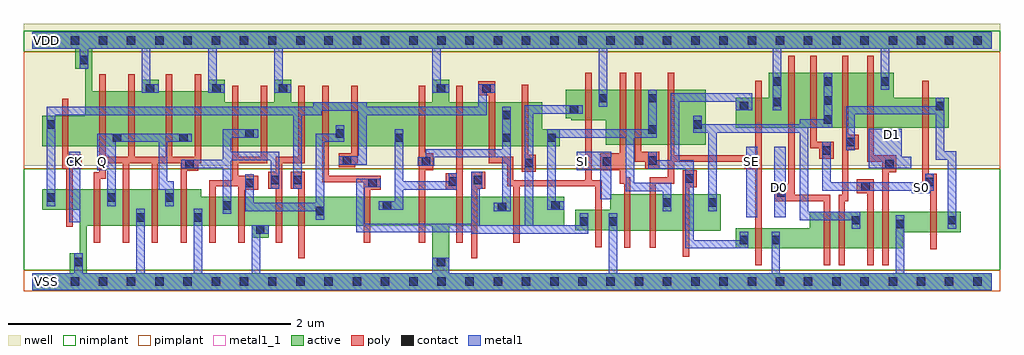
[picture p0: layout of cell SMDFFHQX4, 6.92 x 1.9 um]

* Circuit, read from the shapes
.subckt SMDFFHQX4 CK D0 D1 Q S0 SE SI VDD VSS
M1 VSS CK n1 VSS nfet w=0.145u l=0.045u
M2 Q n2 VSS VSS nfet w=0.26u l=0.045u m=4
M3 n2 n3 VSS VSS nfet w=0.205u l=0.045u m=2
M4 n4 n2 VSS VSS nfet w=0.205u l=0.045u
M5 n3 n1 n4 VSS nfet w=0.205u l=0.045u
M6 n5 n6 n3 VSS nfet w=0.205u l=0.045u
M7 VSS n7 n5 VSS nfet w=0.205u l=0.045u
M8 n8 n5 VSS VSS nfet w=0.205u l=0.045u
M9 n7 n6 n8 VSS nfet w=0.205u l=0.045u
M10 n9 n1 n7 VSS nfet w=0.205u l=0.045u
M11 VSS n1 n6 VSS nfet w=0.145u l=0.045u
M12 n10 SI VSS VSS nfet w=0.26u l=0.045u
M13 n9 SE n10 VSS nfet w=0.26u l=0.045u
M14 n11 n12 n9 VSS nfet w=0.26u l=0.045u
M15 VSS SE n12 VSS nfet w=0.145u l=0.045u
M16 n13 D0 VSS VSS nfet w=0.26u l=0.045u
M17 n11 n14 n13 VSS nfet w=0.26u l=0.045u
M18 n15 S0 n11 VSS nfet w=0.26u l=0.045u
M19 VSS D1 n15 VSS nfet w=0.26u l=0.045u
M20 n14 S0 VSS VSS nfet w=0.145u l=0.045u
M21 VDD CK n1 VDD pfet w=0.215u l=0.045u
M22 Q n2 VDD VDD pfet w=0.39u l=0.045u m=4
M23 n2 n3 VDD VDD pfet w=0.31u l=0.045u m=2
M24 n16 n2 VDD VDD pfet w=0.31u l=0.045u
M25 n3 n6 n16 VDD pfet w=0.31u l=0.045u
M26 n5 n1 n3 VDD pfet w=0.31u l=0.045u
M27 VDD n7 n5 VDD pfet w=0.31u l=0.045u
M28 n17 n5 VDD VDD pfet w=0.31u l=0.045u
M29 n7 n1 n17 VDD pfet w=0.31u l=0.045u
M30 n9 n6 n7 VDD pfet w=0.31u l=0.045u
M31 VDD n1 n6 VDD pfet w=0.215u l=0.045u
M32 n18 SI VDD VDD pfet w=0.39u l=0.045u
M33 n9 n12 n18 VDD pfet w=0.39u l=0.045u
M34 n11 SE n9 VDD pfet w=0.39u l=0.045u
M35 VDD SE n12 VDD pfet w=0.215u l=0.045u
M36 n19 D0 VDD VDD pfet w=0.39u l=0.045u
M37 n11 S0 n19 VDD pfet w=0.39u l=0.045u
M38 n20 n14 n11 VDD pfet w=0.39u l=0.045u
M39 VDD D1 n20 VDD pfet w=0.39u l=0.045u
M40 n14 S0 VDD VDD pfet w=0.215u l=0.045u
.ends

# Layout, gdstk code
import gdstk
lib = gdstk.Library(unit=1e-6, precision=5e-10)
def R(c, l, rs):  # rectangles x0, y0, x1, y1
    for r in rs: c.add(gdstk.rectangle(r[:2], r[2:], *l))
def A(c, l, x, y, w, h, nx, ny, dx, dy):  # array of equal rectangles
    R(c, l, [(x+i*dx, y+j*dy, x+i*dx+w, y+j*dy+h) for i in range(nx) for j in range(ny)])
def P(c, l, *ps):  # polygons
    for p in ps: c.add(gdstk.Polygon(p, *l))
active = (1, 0)
nwell = (2, 0)
poly = (3, 0)
nimplant = (4, 0)
pimplant = (5, 0)
contact = (6, 0)
metal1 = (7, 0)
metal1_1 = (7, 1)

smdffhqx4 = lib.new_cell('SMDFFHQX4')
P(smdffhqx4, active, [(0,1.77),(6.8,1.77),(6.8,1.65),(0.425,1.65),(0.425,1.35),(0.775,1.35),(0.775,1.43),(0.895,1.43),(0.895,1.35),(1.245,1.35),(1.245,1.43),(1.365,1.43),(1.365,1.27),(1.715,1.27),(1.715,1.43),(1.835,1.43),(1.835,1.27),(2.835,1.27),(2.835,1.43),(2.955,1.43),(2.955,1.27),(3.615,1.27),(3.615,1.08),(3.74,1.08),(3.74,0.96),(0.07,0.96),(0.07,1.175),(0.375,1.175),(0.375,1.51),(0.305,1.51),(0.305,1.65),(0,1.65)],
  [(3.78,1.36),(4.775,1.36),(4.775,0.97),(4.065,0.97),(4.065,1.145),(3.82,1.145),(3.82,1.16),(3.78,1.16)],
  [(5.22,1.48),(6.105,1.48),(6.105,1.305),(6.495,1.305),(6.495,1.09),(4.985,1.09),(4.985,1.305),(5.22,1.305)],
  [(0.07,0.655),(1.195,0.655),(1.195,0.6),(3.77,0.6),(3.77,0.395),(2.955,0.395),(2.955,0.06),(6.8,0.06),(6.8,-0.06),(0,-0.06),(0,0.06),(0.265,0.06),(0.265,0.2),(0.335,0.2),(0.335,0.395),(0.385,0.395),(0.385,0.06),(2.835,0.06),(2.835,0.395),(1.675,0.395),(1.675,0.31),(1.555,0.31),(1.555,0.395),(0.335,0.395),(0.335,0.51),(0.07,0.51)],
  [(4.095,0.62),(4.88,0.62),(4.88,0.36),(4.095,0.36),(4.095,0.365),(3.85,0.365),(3.85,0.51),(4.095,0.51)],
  [(5.51,0.495),(6.58,0.495),(6.58,0.35),(6.17,0.35),(6.17,0.235),(4.985,0.235),(4.985,0.38),(5.51,0.38)])
R(smdffhqx4, nwell, [(-0.06,0.82,6.86,1.83)])
P(smdffhqx4, poly, [(0.475,1.47),(0.52,1.47),(0.52,0.885),(0.68,0.885),(0.68,1.47),(0.725,1.47),(0.725,0.885),(0.945,0.885),(0.945,1.47),(0.99,1.47),(0.99,0.885),(1.15,0.885),(1.15,1.47),(1.195,1.47),(1.195,0.84),(1.175,0.84),(1.175,0.785),(1.095,0.785),(1.095,0.275),(1.05,0.275),(1.05,0.84),(0.89,0.84),(0.89,0.275),(0.845,0.275),(0.845,0.84),(0.685,0.84),(0.685,0.275),(0.64,0.275),(0.64,0.84),(0.52,0.84),(0.52,0.73),(0.48,0.73),(0.48,0.275),(0.435,0.275),(0.435,0.775),(0.475,0.775)],
  [(0.21,1.295),(0.255,1.295),(0.255,0.9),(0.35,0.9),(0.35,0.8),(0.285,0.8),(0.285,0.39),(0.24,0.39),(0.24,0.8),(0.21,0.8)],
  [(3.16,1.42),(3.28,1.42),(3.28,0.885),(3.41,0.885),(3.41,0.72),(3.92,0.72),(3.92,1.48),(3.965,1.48),(3.965,0.72),(4.035,0.72),(4.035,0.245),(3.99,0.245),(3.99,0.675),(3.455,0.675),(3.455,0.275),(3.41,0.275),(3.41,0.675),(3.365,0.675),(3.365,0.84),(3.235,0.84),(3.235,1.32),(3.16,1.32)],
  [(1.415,1.39),(1.46,1.39),(1.46,0.885),(1.62,0.885),(1.62,1.39),(1.665,1.39),(1.665,0.84),(1.46,0.84),(1.46,0.75),(1.6,0.75),(1.6,0.65),(1.505,0.65),(1.505,0.275),(1.46,0.275),(1.46,0.675),(1.3,0.675),(1.3,0.275),(1.255,0.275),(1.255,0.72),(1.415,0.72)],
  [(1.885,1.39),(1.93,1.39),(1.93,0.84),(1.77,0.84),(1.77,0.275),(1.725,0.275),(1.725,0.66),(1.67,0.66),(1.67,0.78),(1.725,0.78),(1.725,0.885),(1.885,0.885)],
  [(2.055,1.39),(2.1,1.39),(2.1,0.75),(2.47,0.75),(2.47,0.65),(2.395,0.65),(2.395,0.275),(2.35,0.275),(2.35,0.705),(2.055,0.705)],
  [(2.26,1.39),(2.305,1.39),(2.305,0.84),(2.29,0.84),(2.29,0.81),(2.17,0.81),(2.17,0.91),(2.26,0.91)],
  [(2.74,1.39),(2.785,1.39),(2.785,0.91),(2.84,0.91),(2.84,0.79),(2.785,0.79),(2.785,0.275),(2.74,0.275)],
  [(3.005,1.39),(3.05,1.39),(3.05,0.275),(3.005,0.275),(3.005,0.65),(2.93,0.65),(2.93,0.77),(3.005,0.77)],
  [(4.165,1.48),(4.21,1.48),(4.21,0.74),(4.24,0.74),(4.24,0.24),(4.195,0.24),(4.195,0.695),(4.165,0.695),(4.165,0.79),(4.025,0.79),(4.025,0.91),(4.165,0.91)],
  [(4.27,1.48),(4.315,1.48),(4.315,0.92),(4.445,0.92),(4.445,0.8),(4.345,0.8),(4.345,0.85),(4.27,0.85)],
  [(4.505,1.48),(4.55,1.48),(4.55,0.895),(5.125,0.895),(5.125,1.425),(5.17,1.425),(5.17,0.115),(5.125,0.115),(5.125,0.795),(5.05,0.795),(5.05,0.85),(4.55,0.85),(4.55,0.695),(4.42,0.695),(4.42,0.24),(4.375,0.24),(4.375,0.74),(4.505,0.74)],
  [(5.36,1.6),(5.405,1.6),(5.405,0.615),(5.655,0.615),(5.655,0.115),(5.61,0.115),(5.61,0.57),(5.26,0.57),(5.26,0.69),(5.36,0.69)],
  [(5.515,1.6),(5.56,1.6),(5.56,0.99),(5.68,0.99),(5.68,0.87),(5.58,0.87),(5.58,0.945),(5.515,0.945)],
  [(5.74,1.6),(5.785,1.6),(5.785,1.04),(5.86,1.04),(5.86,0.94),(5.785,0.94),(5.785,0.57),(5.76,0.57),(5.76,0.115),(5.715,0.115),(5.715,0.615),(5.74,0.615)],
  [(5.92,1.6),(5.965,1.6),(5.965,0.895),(6.125,0.895),(6.125,0.775),(6.07,0.775),(6.07,0.115),(6.025,0.115),(6.025,0.85),(5.92,0.85)],
  [(3.47,1.395),(3.515,1.395),(3.515,0.9),(3.57,0.9),(3.57,0.78),(3.47,0.78)],
  [(6.31,1.425),(6.355,1.425),(6.355,0.765),(6.41,0.765),(6.41,0.23),(6.365,0.23),(6.365,0.645),(6.31,0.645)],
  [(4.61,0.79),(4.71,0.79),(4.71,0.67),(4.655,0.67),(4.655,0.175),(4.61,0.175)],
  [(1.83,0.78),(1.93,0.78),(1.93,0.165),(1.885,0.165),(1.885,0.66),(1.83,0.66)],
  [(3.11,0.78),(3.21,0.78),(3.21,0.66),(3.155,0.66),(3.155,0.165),(3.11,0.165)],
  [(5.845,0.725),(5.965,0.725),(5.965,0.115),(5.92,0.115),(5.92,0.625),(5.845,0.625)])
R(smdffhqx4, nimplant, [(-0.06,0.08,6.86,0.8), (-0.06,1.63,6.86,1.78)])
R(smdffhqx4, pimplant, [(-0.06,-0.07,6.86,0.08), (-0.06,0.8,6.86,1.63)])
A(smdffhqx4, contact, 0.07, -0.03, 0.06, 0.06, 34, 2, 0.2, 1.71)
A(smdffhqx4, contact, 4.365, 0.83, 0.06, 0.06, 1, 3, 0, 0.22)
A(smdffhqx4, contact, 5.61, 1.12, 0.06, 0.06, 1, 3, 0, 0.135)
A(smdffhqx4, contact, 0.805, 1.34, 0.06, 0.06, 3, 1, 0.47, 0)
R(smdffhqx4, contact, [(0.295,0.11,0.355,0.17), (2.865,0.11,2.925,0.17), (5.015,0.265,5.075,0.325), (5.24,0.265,5.3,0.325), (1.585,0.34,1.645,0.4), (6.12,0.38,6.18,0.44), (3.88,0.395,3.94,0.455), (4.085,0.395,4.145,0.455), (5.81,0.405,5.87,0.465), (6.49,0.405,6.55,0.465), (0.735,0.425,0.795,0.485), (1.145,0.425,1.205,0.485), (2.01,0.47,2.07,0.53), (3.3,0.5,3.36,0.56), (1.35,0.51,1.41,0.57), (2.485,0.51,2.545,0.57), (3.68,0.51,3.74,0.57), (4.47,0.53,4.53,0.59), (4.79,0.53,4.85,0.59), (0.1,0.565,0.16,0.625), (0.53,0.565,0.59,0.625), (0.94,0.565,1,0.625), (5.28,0.6,5.34,0.66), (5.875,0.645,5.935,0.705), (1.51,0.67,1.57,0.73), (2.38,0.67,2.44,0.73), (6.33,0.675,6.39,0.735), (2.95,0.68,3.01,0.74), (1.69,0.69,1.75,0.75), (1.85,0.69,1.91,0.75), (3.13,0.69,3.19,0.75), (4.63,0.7,4.69,0.76), (1.085,0.805,1.145,0.865), (6.045,0.805,6.105,0.865), (3.49,0.81,3.55,0.87), (5.08,0.815,5.14,0.875), (0.26,0.82,0.32,0.88), (2.76,0.82,2.82,0.88), (4.045,0.82,4.105,0.88), (2.2,0.83,2.26,0.89), (5.6,0.9,5.66,0.96), (5.77,0.96,5.83,1.02), (0.57,0.99,0.63,1.05), (1.04,0.99,1.1,1.05), (2.57,0.99,2.63,1.05), (3.33,0.99,3.39,1.05), (3.65,0.99,3.71,1.05), (1.51,1.02,1.57,1.08), (2.15,1.02,2.21,1.08), (0.1,1.085,0.16,1.145), (4.685,1.085,4.745,1.145), (3.33,1.15,3.39,1.21), (3.81,1.19,3.87,1.25), (5.015,1.215,5.075,1.275), (6.405,1.215,6.465,1.275), (5.25,1.245,5.31,1.305), (4.015,1.27,4.075,1.33), (2.865,1.34,2.925,1.4), (3.19,1.34,3.25,1.4), (5.25,1.39,5.31,1.45), (6.015,1.39,6.075,1.45), (0.335,1.54,0.395,1.6)])
R(smdffhqx4, metal1, [(0.26,0.42,0.34,0.92), (5.06,0.455,5.14,0.955), (5.26,0.455,5.34,0.955)])
P(smdffhqx4, metal1, [(0,1.77),(6.8,1.77),(6.8,1.65),(6.075,1.65),(6.075,1.36),(6.015,1.36),(6.015,1.65),(5.31,1.65),(5.31,1.215),(5.25,1.215),(5.25,1.65),(4.075,1.65),(4.075,1.24),(4.015,1.24),(4.015,1.65),(2.895,1.65),(2.895,1.4),(2.955,1.4),(2.955,1.34),(2.835,1.34),(2.835,1.65),(1.775,1.65),(1.775,1.4),(1.835,1.4),(1.835,1.34),(1.715,1.34),(1.715,1.65),(1.305,1.65),(1.305,1.4),(1.365,1.4),(1.365,1.34),(1.245,1.34),(1.245,1.65),(0.835,1.65),(0.835,1.4),(0.895,1.4),(0.895,1.34),(0.775,1.34),(0.775,1.65),(0.395,1.65),(0.395,1.51),(0.335,1.51),(0.335,1.65),(0,1.65)],
  [(3.16,1.4),(3.28,1.4),(3.28,1.34),(3.22,1.34),(3.22,1.18),(2.37,1.18),(2.37,0.83),(2.17,0.83),(2.17,0.89),(2.31,0.89),(2.31,1.21),(2.05,1.21),(2.05,1.18),(1.91,1.18),(1.91,0.66),(1.85,0.66),(1.85,1.18),(0.16,1.18),(0.16,0.535),(0.1,0.535),(0.1,1.24),(1.99,1.24),(1.99,1.27),(2.37,1.27),(2.37,1.24),(3.16,1.24)],
  [(2.15,1.11),(2.21,1.11),(2.21,0.99),(2.07,0.99),(2.07,0.44),(2.01,0.44),(2.01,0.5),(1.51,0.5),(1.51,0.76),(1.57,0.76),(1.57,0.56),(2.01,0.56),(2.01,1.05),(2.15,1.05)],
  [(0.46,1.05),(1.13,1.05),(1.13,0.99),(0.955,0.99),(0.955,0.71),(1,0.71),(1,0.535),(0.94,0.535),(0.94,0.65),(0.895,0.65),(0.895,0.99),(0.59,0.99),(0.59,0.535),(0.53,0.535),(0.53,0.79),(0.46,0.79)],
  [(1.35,1.08),(1.6,1.08),(1.6,1.02),(1.41,1.02),(1.41,0.92),(1.75,0.92),(1.75,0.66),(1.69,0.66),(1.69,0.86),(1.41,0.86),(1.41,0.48),(1.35,0.48),(1.35,0.805),(1.055,0.805),(1.055,0.865),(1.35,0.865)],
  [(0.295,0.2),(0.355,0.2),(0.355,0.06),(0.735,0.06),(0.735,0.515),(0.795,0.515),(0.795,0.06),(1.145,0.06),(1.145,0.515),(1.205,0.515),(1.205,0.06),(1.555,0.06),(1.555,0.4),(1.675,0.4),(1.675,0.34),(1.615,0.34),(1.615,0.06),(2.835,0.06),(2.835,0.17),(2.955,0.17),(2.955,0.06),(4.085,0.06),(4.085,0.485),(4.145,0.485),(4.145,0.06),(5.24,0.06),(5.24,0.355),(5.3,0.355),(5.3,0.06),(6.12,0.06),(6.12,0.47),(6.18,0.47),(6.18,0.06),(6.8,0.06),(6.8,-0.06),(0,-0.06),(0,0.06),(0.295,0.06)],
  [(3.49,1.25),(3.9,1.25),(3.9,1.19),(3.55,1.19),(3.55,0.4),(3.88,0.4),(3.88,0.485),(3.94,0.485),(3.94,0.34),(3.11,0.34),(3.11,0.35),(2.295,0.35),(2.295,0.73),(2.47,0.73),(2.47,0.67),(2.355,0.67),(2.355,0.41),(3.11,0.41),(3.11,0.78),(3.19,0.78),(3.19,0.66),(3.17,0.66),(3.17,0.4),(3.49,0.4)],
  [(3.33,1.24),(3.39,1.24),(3.39,0.5),(3.27,0.5),(3.27,0.56),(3.33,0.56),(3.33,0.88),(2.85,0.88),(2.85,0.82),(2.73,0.82),(2.73,0.88),(2.79,0.88),(2.79,0.94),(3.33,0.94)],
  [(2.57,1.08),(2.63,1.08),(2.63,0.71),(2.95,0.71),(2.95,0.77),(3.01,0.77),(3.01,0.65),(2.63,0.65),(2.63,0.51),(2.455,0.51),(2.455,0.57),(2.57,0.57)],
  [(4.365,1.36),(4.425,1.36),(4.425,1.02),(4.265,1.02),(4.265,0.7),(4.53,0.7),(4.53,0.5),(4.47,0.5),(4.47,0.64),(4.205,0.64),(4.205,1.02),(3.71,1.02),(3.71,0.57),(3.77,0.57),(3.77,0.51),(3.65,0.51),(3.65,1.08),(4.365,1.08)],
  [(4.525,1.335),(5.105,1.335),(5.105,1.215),(4.985,1.215),(4.985,1.275),(4.585,1.275),(4.585,0.86),(4.69,0.86),(4.69,0.295),(5.015,0.295),(5.015,0.355),(5.075,0.355),(5.075,0.235),(4.63,0.235),(4.63,0.8),(4.365,0.8),(4.365,0.92),(4.425,0.92),(4.425,0.86),(4.525,0.86)],
  [(3.86,0.92),(4.105,0.92),(4.105,0.585),(4.025,0.585),(4.025,0.79),(3.86,0.79)],
  [(4.685,1.175),(4.745,1.175),(4.745,1.115),(5.44,1.115),(5.44,1.15),(5.61,1.15),(5.61,1.48),(5.67,1.48),(5.67,1.09),(5.5,1.09),(5.5,0.495),(5.87,0.495),(5.87,0.375),(5.81,0.375),(5.81,0.435),(5.44,0.435),(5.44,1.055),(4.85,1.055),(4.85,0.5),(4.79,0.5),(4.79,1.055),(4.685,1.055)],
  [(6.405,1.305),(6.465,1.305),(6.465,0.925),(6.55,0.925),(6.55,0.375),(6.49,0.375),(6.49,0.865),(6.405,0.865),(6.405,1.185),(5.83,1.185),(5.83,0.93),(5.77,0.93),(5.77,1.245),(6.405,1.245)],
  [(5.6,0.99),(5.66,0.99),(5.66,0.705),(6.33,0.705),(6.33,0.765),(6.39,0.765),(6.39,0.645),(6.365,0.645),(6.365,0.625),(6.235,0.625),(6.235,0.645),(5.6,0.645)],
  [(5.93,1.085),(6.165,1.085),(6.165,0.885),(6.23,0.885),(6.23,0.805),(5.93,0.805)])
R(smdffhqx4, metal1_1, [(0.06,-0.04,0.14,0.04), (5.26,0.625,5.34,0.705), (6.26,0.625,6.34,0.705), (0.26,0.815,0.34,0.895), (0.46,0.815,0.54,0.895), (3.86,0.815,3.94,0.895), (5.06,0.815,5.14,0.895), (6.06,1.005,6.14,1.085), (0.06,1.67,0.14,1.75)])
smdffhqx4.add(gdstk.Label('S0', (6.3,0.665), layer=7, texttype=1))
smdffhqx4.add(gdstk.Label('D1', (6.1,1.045), layer=7, texttype=1))
smdffhqx4.add(gdstk.Label('D0', (5.3,0.665), layer=7, texttype=1))
smdffhqx4.add(gdstk.Label('SE', (5.1,0.855), layer=7, texttype=1))
smdffhqx4.add(gdstk.Label('SI', (3.9,0.855), layer=7, texttype=1))
smdffhqx4.add(gdstk.Label('CK', (0.3,0.855), layer=7, texttype=1))
smdffhqx4.add(gdstk.Label('Q', (0.5,0.855), layer=7, texttype=1))
smdffhqx4.add(gdstk.Label('VDD', (0.1,1.71), layer=7, texttype=1))
smdffhqx4.add(gdstk.Label('VSS', (0.1,0), layer=7, texttype=1))
smdffhqx4.add(gdstk.Label('SMDFFHQX4', (0,0), layer=63, texttype=0))

lib.write_gds('SMDFFHQX4.gds')
